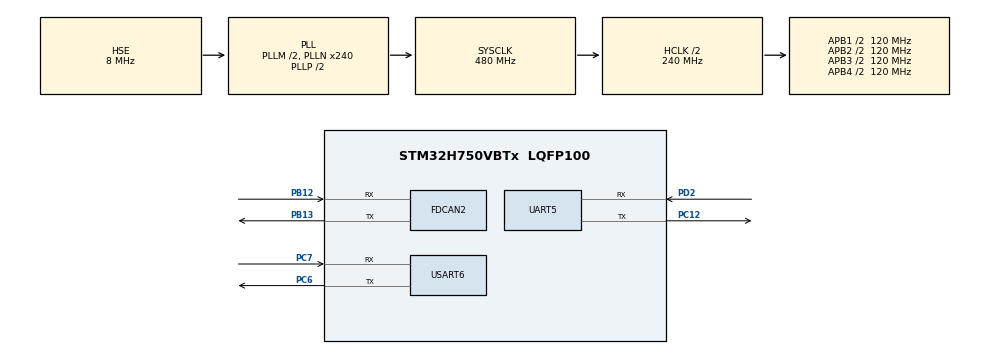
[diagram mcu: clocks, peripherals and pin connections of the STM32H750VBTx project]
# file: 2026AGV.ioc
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CORTEX_M7.AccessPermission-Cortex_Memory_Protection_Unit_Region1_Settings=MPU_REGION_FULL_ACCESS
CORTEX_M7.BaseAddress-Cortex_Memory_Protection_Unit_Region1_Settings=0x30000000
CORTEX_M7.CPU_DCache=Enabled
CORTEX_M7.CPU_ICache=Enabled
CORTEX_M7.DisableExec-Cortex_Memory_Protection_Unit_Region1_Settings=MPU_INSTRUCTION_ACCESS_DISABLE
CORTEX_M7.Enable-Cortex_Memory_Protection_Unit_Region1_Settings=MPU_REGION_ENABLE
CORTEX_M7.IsBufferable-Cortex_Memory_Protection_Unit_Region1_Settings=MPU_ACCESS_NOT_BUFFERABLE
CORTEX_M7.IsCacheable-Cortex_Memory_Protection_Unit_Region1_Settings=MPU_ACCESS_NOT_CACHEABLE
CORTEX_M7.IsShareable-Cortex_Memory_Protection_Unit_Region1_Settings=MPU_ACCESS_SHAREABLE
CORTEX_M7.Size-Cortex_Memory_Protection_Unit_Region1_Settings=MPU_REGION_SIZE_256B
CORTEX_M7.TypeExtField-Cortex_Memory_Protection_Unit_Region1_Settings=MPU_TEX_LEVEL1
CORTEX_M7.default_mode_Activation=1
Dma.Request0=UART5_RX
Dma.UART5_RX.0.Direction=DMA_PERIPH_TO_MEMORY
Dma.UART5_RX.0.EventEnable=DISABLE
Dma.UART5_RX.0.FIFOMode=DMA_FIFOMODE_DISABLE
Dma.UART5_RX.0.Instance=DMA1_Stream0
Dma.UART5_RX.0.MemDataAlignment=DMA_MDATAALIGN_BYTE
Dma.UART5_RX.0.MemInc=DMA_MINC_ENABLE
Dma.UART5_RX.0.Mode=DMA_CIRCULAR
Dma.UART5_RX.0.PeriphDataAlignment=DMA_PDATAALIGN_BYTE
Dma.UART5_RX.0.PeriphInc=DMA_PINC_DISABLE
Dma.UART5_RX.0.Polarity=HAL_DMAMUX_REQ_GEN_RISING
Dma.UART5_RX.0.Priority=DMA_PRIORITY_LOW
Dma.UART5_RX.0.RequestNumber=1
Dma.UART5_RX.0.SignalID=NONE
Dma.UART5_RX.0.SyncEnable=DISABLE
Dma.UART5_RX.0.SyncPolarity=HAL_DMAMUX_SYNC_NO_EVENT
Dma.UART5_RX.0.SyncRequestNumber=1
Dma.UART5_RX.0.SyncSignalID=NONE
FDCAN2.AutoRetransmission=ENABLE
FDCAN2.CalculateBaudRateNominal=1000000
FDCAN2.CalculateTimeBitNominal=1000
FDCAN2.CalculateTimeQuantumNominal=50.0
FDCAN2.NominalPrescaler=6
FDCAN2.NominalSyncJumpWidth=4
FDCAN2.NominalTimeSeg1=15
FDCAN2.NominalTimeSeg2=4
FDCAN2.RxFifo0ElmtsNbr=16
FDCAN2.TxFifoQueueElmtsNbr=16
FREERTOS.Tasks01=StartTask,24,128,StartTask01,Default,NULL,Dynamic,NULL,NULL;IMUTask,40,128,StartIMUTask,Default,NULL,Dynamic,NULL,NULL;ChassisTask,32,512,StartChassisTask,Default,NULL,Dynamic,NULL,NULL
Mcu.Family=STM32H7
Mcu.Name=STM32H750VBTx
Mcu.Package=LQFP100
NVIC.DMA1_Stream0_IRQn=true\:6\:0\:true\:false\:true\:true\:false\:true\:true
NVIC.FDCAN2_IT0_IRQn=true\:5\:0\:true\:false\:true\:true\:true\:true\:true
NVIC.PriorityGroup=NVIC_PRIORITYGROUP_4
NVIC.TIM6_DAC_IRQn=true\:15\:0\:false\:false\:true\:false\:false\:true\:true
NVIC.TimeBase=TIM6_DAC_IRQn
NVIC.TimeBaseIP=TIM6
NVIC.UART5_IRQn=true\:6\:0\:true\:false\:true\:true\:true\:true\:true
NVIC.USART6_IRQn=true\:6\:0\:true\:false\:true\:true\:true\:true\:true
PA13\ (JTMS/SWDIO).Mode=Serial_Wire
PA13\ (JTMS/SWDIO).Signal=DEBUG_JTMS-SWDIO
PA14\ (JTCK/SWCLK).Mode=Serial_Wire
PA14\ (JTCK/SWCLK).Signal=DEBUG_JTCK-SWCLK
PB12.Mode=FDCAN_Activate
PB12.Signal=FDCAN2_RX
PB13.Mode=FDCAN_Activate
PB13.Signal=FDCAN2_TX
PC12.Mode=Asynchronous
PC12.Signal=UART5_TX
PC6.Mode=Asynchronous
PC6.Signal=USART6_TX
PC7.Mode=Asynchronous
PC7.Signal=USART6_RX
PD2.Mode=Asynchronous
PD2.Signal=UART5_RX
PH0-OSC_IN\ (PH0).Mode=HSE-External-Oscillator
PH0-OSC_IN\ (PH0).Signal=RCC_OSC_IN
PH1-OSC_OUT\ (PH1).Mode=HSE-External-Oscillator
PH1-OSC_OUT\ (PH1).Signal=RCC_OSC_OUT
ProjectManager.HeapSize=0x200
ProjectManager.StackSize=0x400
ProjectManager.TargetToolchain=CMake
RCC.ADCFreq_Value=16125000
RCC.APB1Freq_Value=120000000
RCC.APB2Freq_Value=120000000
RCC.APB3Freq_Value=120000000
RCC.APB4Freq_Value=120000000
RCC.CortexFreq_Value=480000000
RCC.D1PPRE=RCC_APB3_DIV2
RCC.D2PPRE1=RCC_APB1_DIV2
RCC.D2PPRE2=RCC_APB2_DIV2
RCC.D3PPRE=RCC_APB4_DIV2
RCC.DIVM1=2
RCC.DIVN1=240
RCC.DIVQ1=8
RCC.HCLKFreq_Value=240000000
RCC.HPRE=RCC_HCLK_DIV2
RCC.HSE_VALUE=8000000
RCC.PLL2FRACN=0
RCC.PLL3FRACN=0
RCC.PLLFRACN=0
RCC.PLLSourceVirtual=RCC_PLLSOURCE_HSE
RCC.SYSCLKFreq_VALUE=480000000
RCC.SYSCLKSource=RCC_SYSCLKSOURCE_PLLCLK
RCC.USBFreq_Value=120000000
UART5.VirtualMode-Asynchronous=VM_ASYNC
USART6.VirtualMode=VM_ASYNC
USART6.VirtualMode-Asynchronous=VM_ASYNC
VP_FREERTOS_VS_CMSIS_V2.Mode=CMSIS_V2
VP_MEMORYMAP_VS_MEMORYMAP.Mode=CurAppReg
VP_SYS_VS_tim6.Mode=TIM6
board=custom

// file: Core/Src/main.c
/* USER CODE BEGIN Header */
/**
  ******************************************************************************
  * @file           : main.c
  * @brief          : Main program body
  ******************************************************************************
  * @attention
  *
  * Copyright (c) 2026 STMicroelectronics.
  * All rights reserved.
  *
  * This software is licensed under terms that can be found in the LICENSE file
  * in the root directory of this software component.
  * If no LICENSE file comes with this software, it is provided AS-IS.
  *
  ******************************************************************************
  */
/* USER CODE END Header */
#include "main.h"
#include "FreeRTOS.h"
#include "cmsis_os2.h"
#include "dma.h"
#include "fdcan.h"
#include "usart.h"
#include "gpio.h"

/* USER CODE BEGIN Includes */
#include "hwt101.h"
#include "zdt_x42s.h"
#include "chassis.h"
#include "chassis_cmd.h"
#include "agv_config.h"
#include "agv_run.h"
/* USER CODE END Includes */

/* USER CODE BEGIN PV */
/* 时钟自检。烧录后用调试器读这两个符号：
   g_hse_ok   = 1 表示用的确实是 8 MHz 晶振；= 0 表示晶振没起振、已退回内部 HSI。
   g_sysclk_hz 应该等于 480000000。 */
volatile uint8_t  g_hse_ok = 0;
volatile uint32_t g_sysclk_hz = 0;
/* USER CODE END PV */

void SystemClock_Config(void);
static void MPU_Config(void);
void MX_FREERTOS_Init(void);

int main(void)
{

  /* MPU Configuration--------------------------------------------------------*/
  MPU_Config();

  /* MCU Configuration--------------------------------------------------------*/

  /* Reset of all peripherals, Initializes the Flash interface and the Systick. */
  HAL_Init();

  /* Configure the system clock */
  SystemClock_Config();

  /* USER CODE BEGIN SysInit */
  /* 能执行到这里说明时钟已经配好了，回读硬件状态记录本次启动用的是哪个源：
     HSERDY=1 → 外部 8 MHz 晶振；=0 → 晶振没起来（此时固件其实已经死在
     SystemClock_Config 的 Error_Handler 里，读到的会一直是初值 0）。 */
  g_hse_ok    = ((RCC->CR & RCC_CR_HSERDY) != 0U) ? 1U : 0U;
  g_sysclk_hz = SystemCoreClock;
  /* USER CODE END SysInit */

  /* Initialize all configured peripherals */
  MX_GPIO_Init();
  MX_DMA_Init();
  MX_FDCAN2_Init();
  MX_USART6_UART_Init();
  MX_UART5_Init();
  /* USER CODE BEGIN 2 */
  if (HWT101_Init(&huart5) != HAL_OK)
  {
    Error_Handler();
  }
  if (Chassis_Init(&hfdcan2) != HAL_OK)   // 内部已含 ZDT_Init 与四轴注册
  {
    Error_Handler();
  }
  Agv_Init(AGV_MODE, AGV_START_ZONE);
  if (ChassisCmd_Init(&huart6) != HAL_OK) // USART6 接收定距移动命令
  {
    Error_Handler();
  }
  /* USER CODE END 2 */

  /* Init scheduler */
  osKernelInitialize();  /* Call init function for freertos objects (in cmsis_os2.c) */
  MX_FREERTOS_Init();

  /* Start scheduler */
  osKernelStart();

  /* We should never get here as control is now taken by the scheduler */

  /* Infinite loop */
  while (1)
  {

  }
}

void SystemClock_Config(void)
{
  RCC_OscInitTypeDef RCC_OscInitStruct = {0};
  RCC_ClkInitTypeDef RCC_ClkInitStruct = {0};

  /** Supply configuration update enable
  */
  HAL_PWREx_ConfigSupply(PWR_LDO_SUPPLY);

  /** Configure the main internal regulator output voltage
  */
  __HAL_PWR_VOLTAGESCALING_CONFIG(PWR_REGULATOR_VOLTAGE_SCALE0);

  while(!__HAL_PWR_GET_FLAG(PWR_FLAG_VOSRDY)) {}

  /** Initializes the RCC Oscillators according to the specified parameters
  * in the RCC_OscInitTypeDef structure.
  */
  RCC_OscInitStruct.OscillatorType = RCC_OSCILLATORTYPE_HSE;
  RCC_OscInitStruct.HSEState = RCC_HSE_ON;
  RCC_OscInitStruct.PLL.PLLState = RCC_PLL_ON;
  RCC_OscInitStruct.PLL.PLLSource = RCC_PLLSOURCE_HSE;
  RCC_OscInitStruct.PLL.PLLM = 2;
  RCC_OscInitStruct.PLL.PLLN = 240;
  RCC_OscInitStruct.PLL.PLLP = 2;
  RCC_OscInitStruct.PLL.PLLQ = 8;
  RCC_OscInitStruct.PLL.PLLR = 2;
  RCC_OscInitStruct.PLL.PLLRGE = RCC_PLL1VCIRANGE_2;
  RCC_OscInitStruct.PLL.PLLVCOSEL = RCC_PLL1VCOWIDE;
  RCC_OscInitStruct.PLL.PLLFRACN = 0;
  if (HAL_RCC_OscConfig(&RCC_OscInitStruct) != HAL_OK)
  {
    Error_Handler();
  }

  /** Initializes the CPU, AHB and APB buses clocks
  */
  RCC_ClkInitStruct.ClockType = RCC_CLOCKTYPE_HCLK|RCC_CLOCKTYPE_SYSCLK
                              |RCC_CLOCKTYPE_PCLK1|RCC_CLOCKTYPE_PCLK2
                              |RCC_CLOCKTYPE_D3PCLK1|RCC_CLOCKTYPE_D1PCLK1;
  RCC_ClkInitStruct.SYSCLKSource = RCC_SYSCLKSOURCE_PLLCLK;
  RCC_ClkInitStruct.SYSCLKDivider = RCC_SYSCLK_DIV1;
  RCC_ClkInitStruct.AHBCLKDivider = RCC_HCLK_DIV2;
  RCC_ClkInitStruct.APB3CLKDivider = RCC_APB3_DIV2;
  RCC_ClkInitStruct.APB1CLKDivider = RCC_APB1_DIV2;
  RCC_ClkInitStruct.APB2CLKDivider = RCC_APB2_DIV2;
  RCC_ClkInitStruct.APB4CLKDivider = RCC_APB4_DIV2;

  if (HAL_RCC_ClockConfig(&RCC_ClkInitStruct, FLASH_LATENCY_4) != HAL_OK)
  {
    Error_Handler();
  }
}

 /* MPU Configuration */

void MPU_Config(void)
{
  MPU_Region_InitTypeDef MPU_InitStruct = {0};

  /* Disables the MPU */
  HAL_MPU_Disable();

  /** Initializes and configures the Region and the memory to be protected
  */
  MPU_InitStruct.Enable = MPU_REGION_ENABLE;
  MPU_InitStruct.Number = MPU_REGION_NUMBER0;
  MPU_InitStruct.BaseAddress = 0x0;
  MPU_InitStruct.Size = MPU_REGION_SIZE_4GB;
  MPU_InitStruct.SubRegionDisable = 0x87;
  MPU_InitStruct.TypeExtField = MPU_TEX_LEVEL0;
  MPU_InitStruct.AccessPermission = MPU_REGION_NO_ACCESS;
  MPU_InitStruct.DisableExec = MPU_INSTRUCTION_ACCESS_DISABLE;
  MPU_InitStruct.IsShareable = MPU_ACCESS_SHAREABLE;
  MPU_InitStruct.IsCacheable = MPU_ACCESS_NOT_CACHEABLE;
  MPU_InitStruct.IsBufferable = MPU_ACCESS_NOT_BUFFERABLE;

  HAL_MPU_ConfigRegion(&MPU_InitStruct);
  /* Enables the MPU */
  HAL_MPU_Enable(MPU_PRIVILEGED_DEFAULT);

}

void HAL_TIM_PeriodElapsedCallback(TIM_HandleTypeDef *htim)
{
  if (htim->Instance == TIM6)
  {
    HAL_IncTick();
  }
}

void Error_Handler(void)
{
  __disable_irq();
  while (1)
  {
  }
}

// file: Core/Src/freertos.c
/* USER CODE BEGIN Header */
/**
  ******************************************************************************
  * File Name          : freertos.c
  * Description        : Code for freertos applications
  ******************************************************************************
  * @attention
  *
  * Copyright (c) 2026 STMicroelectronics.
  * All rights reserved.
  *
  * This software is licensed under terms that can be found in the LICENSE file
  * in the root directory of this software component.
  * If no LICENSE file comes with this software, it is provided AS-IS.
  *
  ******************************************************************************
  */
/* USER CODE END Header */

#include "FreeRTOS.h"
#include "task.h"
#include "main.h"
#include "FreeRTOS.h"
#include "cmsis_os2.h"

/* USER CODE BEGIN Includes */
#include "hwt101.h"
#include "zdt_x42s.h"
#include "chassis.h"
#include "chassis_cmd.h"
#include "agv_run.h"
/* USER CODE END Includes */

/* USER CODE BEGIN Variables */
#define IMU_RX_FLAG      0x0001U
#define IMU_WAIT_TIMEOUT 10U /* ms，兜底：串口停流时也定期检查 DMA 重启 */
volatile const char *stack_overflow_task; /* 调试器查看溢出的任务名 */

/* USER CODE END Variables */
/* Definitions for IMUTask */
osThreadId_t IMUTaskHandle;
const osThreadAttr_t IMUTask_attributes = {
  .name = "IMUTask",
  .stack_size = 256 * 4,
  .priority = (osPriority_t) osPriorityHigh,
};
/* Definitions for ChassisTask */
osThreadId_t ChassisTaskHandle;
const osThreadAttr_t ChassisTask_attributes = {
  .name = "ChassisTask",
  .stack_size = 512 * 4,
  .priority = (osPriority_t) osPriorityAboveNormal,
};

/* USER CODE BEGIN FunctionPrototypes */
static void IMU_RxNotify(void);

/* USER CODE END FunctionPrototypes */

void StartIMUTask(void *argument);
void StartChassisTask(void *argument);

void MX_FREERTOS_Init(void); /* (MISRA C 2004 rule 8.1) */

/* Hook prototypes */
void vApplicationStackOverflowHook(TaskHandle_t xTask, char *pcTaskName);

/* USER CODE BEGIN 4 */
/* 栈溢出：尽力让四个电机立即停止（FDCAN 由硬件发送，不依赖 RTOS），然后停机等调试。 */
void vApplicationStackOverflowHook(TaskHandle_t xTask, char *pcTaskName)
{
  (void)xTask;
  taskDISABLE_INTERRUPTS();
  stack_overflow_task = pcTaskName;
  for (uint8_t address = ZDT_ADDR_LF; address <= ZDT_ADDR_RR; ++address)
    (void)ZDT_Stop(ZDT_FindMotor(address), ZDT_SYNC_NOW);
  for (;;)
  {
  }
}
/* USER CODE END 4 */

void MX_FREERTOS_Init(void) {

  /* Create the thread(s) */
  /* creation of IMUTask */
  IMUTaskHandle = osThreadNew(StartIMUTask, NULL, &IMUTask_attributes);

  /* creation of ChassisTask */
  ChassisTaskHandle = osThreadNew(StartChassisTask, NULL, &ChassisTask_attributes);

}

void StartIMUTask(void *argument)
{
  /* USER CODE BEGIN StartIMUTask */
  (void)argument;
  HWT101_SetRxHook(IMU_RxNotify);
  /* Infinite loop */
  for(;;)
  {
    /* 串口中断收到数据后才唤醒，不再 1 ms 空转轮询。 */
    (void)osThreadFlagsWait(IMU_RX_FLAG, osFlagsWaitAny, IMU_WAIT_TIMEOUT);
    HWT101_ProcessData(&huart5, &imu);
  }
  /* USER CODE END StartIMUTask */
}

void StartChassisTask(void *argument)
{
  /* USER CODE BEGIN StartChassisTask */
  (void)argument;
  const uint32_t period = (osKernelGetTickFreq() * CHASSIS_PERIOD_US) / 1000000U;
  uint32_t next_tick = osKernelGetTickCount();
  for (;;) {
    Chassis_Update();
    ChassisCmd_Poll();
    Agv_Tick();
    next_tick += period;
    if ((int32_t)(next_tick - osKernelGetTickCount()) <= 0)
      next_tick = osKernelGetTickCount() + period;
    (void)osDelayUntil(next_tick);
  }
  /* USER CODE END StartChassisTask */
}

/* USER CODE BEGIN Application */
static void IMU_RxNotify(void)
{
  (void)osThreadFlagsSet(IMUTaskHandle, IMU_RX_FLAG);
}

/* USER CODE END Application */
